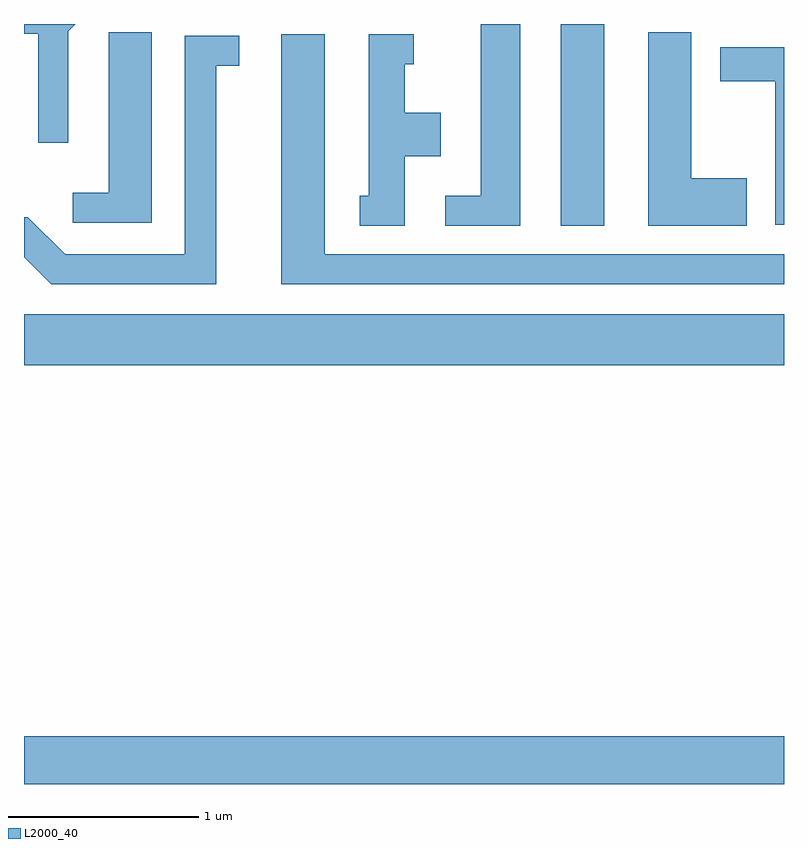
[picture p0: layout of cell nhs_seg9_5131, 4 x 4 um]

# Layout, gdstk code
import gdstk
lib = gdstk.Library(unit=1e-6, precision=1e-09)
def R(c, l, rs):  # rectangles x0, y0, x1, y1
    for r in rs: c.add(gdstk.rectangle(r[:2], r[2:], *l))
def P(c, l, *ps):  # polygons
    for p in ps: c.add(gdstk.Polygon(p, *l))
L2000_40 = (2000, 40)

nhs_seg9_5131 = lib.new_cell('nhs_seg9_5131')
R(nhs_seg9_5131, L2000_40, [(335.611,2058.432,339.611,2058.684), (335.611,2060.636,339.611,2060.904), (338.436,2061.371,338.664,2062.432)])
P(nhs_seg9_5131, L2000_40, [(335.844,2062.394),(335.882,2062.432),(335.611,2062.432),(335.611,2062.381),(335.686,2062.381),(335.686,2061.808),(335.844,2061.808)],
  [(338.224,2062.432),(338.016,2062.432),(338.016,2061.529),(337.828,2061.529),(337.828,2061.371),(338.224,2061.371)],
  [(336.284,2062.389),(336.056,2062.389),(336.056,2061.544),(335.868,2061.544),(335.868,2061.386),(336.284,2061.386)],
  [(339.414,2061.619),(339.124,2061.619),(339.124,2062.389),(338.896,2062.389),(338.896,2061.371),(339.414,2061.371)],
  [(337.614,2061.736),(337.804,2061.736),(337.804,2061.964),(337.614,2061.964),(337.614,2062.221),(337.663,2062.221),(337.663,2062.379),(337.426,2062.379),(337.426,2061.529),(337.378,2061.529),(337.378,2061.371),(337.614,2061.371)],
  [(339.611,2061.219),(337.194,2061.219),(337.194,2062.379),(336.966,2062.379),(336.966,2061.061),(339.611,2061.061)],
  [(336.624,2062.211),(336.743,2062.211),(336.743,2062.369),(336.456,2062.369),(336.456,2061.219),(335.827,2061.219),(335.632,2061.414),(335.611,2061.414),(335.611,2061.204),(335.754,2061.061),(336.624,2061.061)],
  [(339.611,2062.309),(339.276,2062.309),(339.276,2062.131),(339.566,2062.131),(339.566,2061.376),(339.611,2061.376)])

lib.write_gds('nhs_seg9_5131.gds')
